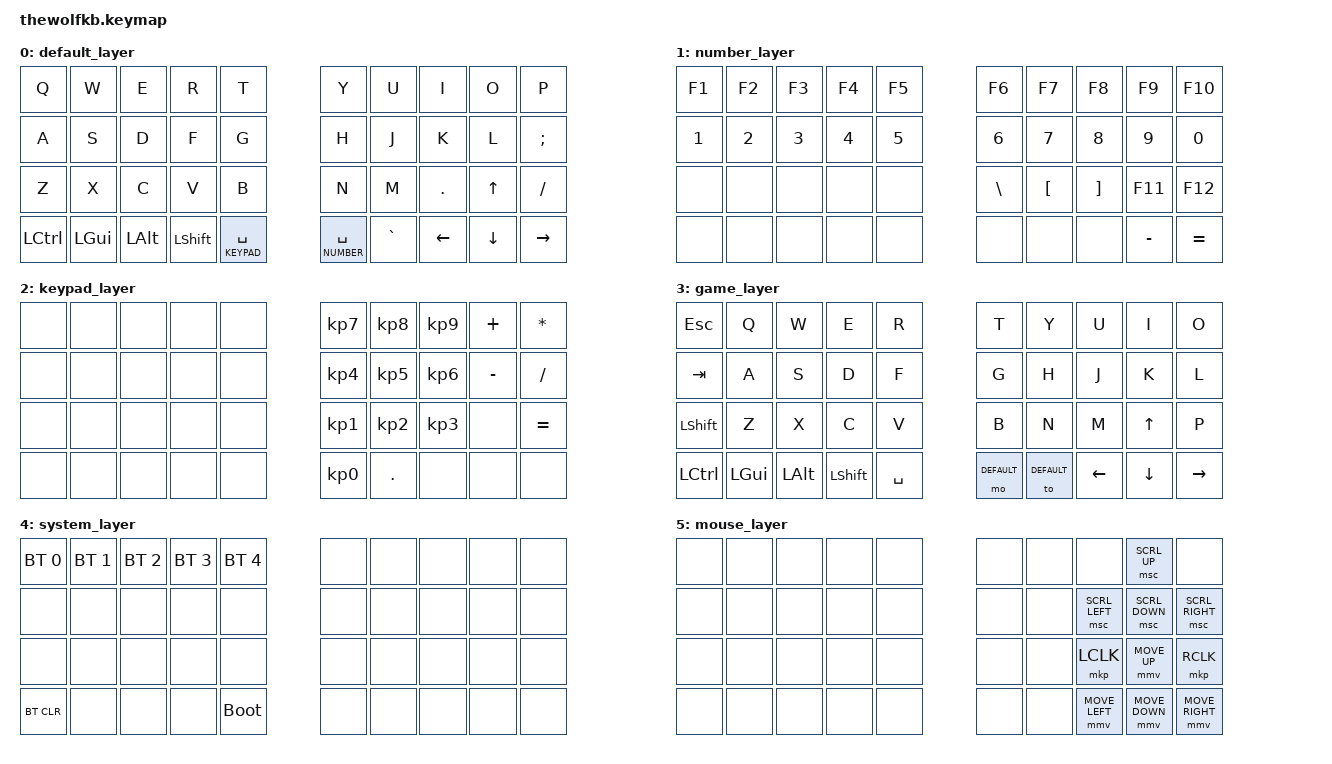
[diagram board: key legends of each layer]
#include <behaviors.dtsi>
#include <dt-bindings/zmk/bt.h>
#include <dt-bindings/zmk/keys.h>
#include <dt-bindings/zmk/outputs.h>
#include <dt-bindings/zmk/mouse.h>

#define ZMK_POINTING_DEFAULT_MOVE_VAL 1500  // default: 600
#define ZMK_POINTING_DEFAULT_SCRL_VAL 20    // default: 10


#include <dt-bindings/zmk/pointing.h>

&mmv {
    x-input-code = <INPUT_REL_X>;
    y-input-code = <INPUT_REL_Y>;
    time-to-max-speed-ms = <500>;
    acceleration-exponent = <1>;
};

&msc {
    x-input-code = <INPUT_REL_HWHEEL>;
    y-input-code = <INPUT_REL_WHEEL>;
    time-to-max-speed-ms = <0>;
    acceleration-exponent = <0>;
};


/ {
    #define DEFAULT 0
    #define NUMBER  1
    #define KEYPAD  2
    #define GAME    3
    #define SYSTEM  4
    #define MOUSE   5

    //新增複數按鍵的組合
    combos
    {
        compatible = "zmk,combos";
        //切換藍牙跟有線模式
        // combo_bt{
        //     //按鍵組合的延遲(在幾秒內必須按下這兩個按鍵)
        //     timeout-ms = <50>;
        //     //按鍵陣列的組合Q+T
        //     key-positions = <0 4>;
        //     bindings = <&out OUT_TOG>;
        // };

        // 全layer通用
        combo_enter{
            timeout-ms = <50>;
            key-positions = <18 19>;
            bindings = <&kp RETURN>;
        };

        combo_backspace{
            timeout-ms = <50>;
            key-positions = <8 9>;
            bindings = <&kp BACKSPACE>;
            layers = <0>;
        };

        combo_delete{
            timeout-ms = <50>;
            key-positions = <8 9>;
            bindings = <&kp DELETE>;
            layers = <2>;
        };
        
        // 默認layer
        combo_comma{
            timeout-ms = <50>;
            key-positions = <26 27>;
            bindings = <&kp COMMA>;
            layers = <0>;
        };

        combo_single_quote{
            timeout-ms = <50>;
            key-positions = <28 29>;
            bindings = <&kp SINGLE_QUOTE>;
            layers = <0>;
        };

        combo_esc{
            timeout-ms = <50>;
            key-positions = <0 1>;
            bindings = <&kp ESC>;
            layers = <0>;
        };

        combo_tab{
            timeout-ms = <50>;
            key-positions = <10 11>;
            bindings = <&kp TAB>;
            layers = <0>;
        };
        
        //navigation
        combo_page_up{
            timeout-ms = <50>;
            key-positions = <28 39>;
            bindings = <&kp PAGE_UP>;
            layers = <0>;
        };
        
        combo_page_down{
            timeout-ms = <50>;
            key-positions = <38 39>;
            bindings = <&kp PAGE_DOWN>;
            layers = <0>;
        };
        
        combo_home{
            timeout-ms = <50>;
            key-positions = <28 37>;
            bindings = <&kp HOME>;
            layers = <0>;
        };

        combo_end{
            timeout-ms = <50>;
            key-positions = <37 38>;
            bindings = <&kp END>;
            layers = <0>;
        };


        // switch layer
        combo_ow{
            timeout-ms = <50>;
            key-positions = <5 9>;
            bindings = <&to GAME>;
            layers = <0>;
        };

        combo_system{
            timeout-ms = <50>;
            key-positions = <35 39>;
            bindings = <&mo SYSTEM>;
            layers = <0>;
        };

        combo_mouse{
            timeout-ms = <50>;
            key-positions = <33 34>;
            bindings = <&mo MOUSE>;
            layers = <0>;
        };

    };



    keymap
    {
        compatible = "zmk,keymap";

        default_layer
        {
            bindings = <
                &kp Q      &kp W         &kp E         &kp R       &kp T                 &kp Y             &kp U      &kp I     &kp O     &kp P 
                &kp A      &kp S         &kp D         &kp F       &kp G                 &kp H             &kp J      &kp K     &kp L     &kp SEMICOLON 
                &kp Z      &kp X         &kp C         &kp V       &kp B                 &kp N             &kp M      &kp DOT   &kp UP    &kp SLASH 
                &kp LCTRL  &kp LEFT_GUI  &kp LEFT_ALT  &kp LSHIFT  &lt KEYPAD SPACE      &lt NUMBER SPACE  &kp GRAVE  &kp LEFT  &kp DOWN  &kp RIGHT
            >;
        };

        number_layer
        {
            bindings = <
                &kp F1  &kp F2  &kp F3  &kp F4  &kp F5        &kp F6         &kp F7            &kp F8             &kp F9     &kp F10
                &kp N1  &kp N2  &kp N3  &kp N4  &kp N5        &kp N6         &kp N7            &kp N8             &kp N9     &kp N0
                &none   &none   &none   &none   &none         &kp BACKSLASH  &kp LEFT_BRACKET  &kp RIGHT_BRACKET  &kp F11    &kp F12
                &none   &none   &none   &none   &none         &none          &none             &none              &kp MINUS  &kp EQUAL
            >;
        };

        keypad_layer
        {
            bindings = <
                &none  &none  &none  &none  &none       &kp KP_N7  &kp KP_N8   &kp KP_N9  &kp PLUS   &kp ASTERISK 
                &none  &none  &none  &none  &none       &kp KP_N4  &kp KP_N5   &kp KP_N6  &kp MINUS  &kp SLASH 
                &none  &none  &none  &none  &none       &kp KP_N1  &kp KP_N2   &kp KP_N3  &none      &kp EQUAL 
                &none  &none  &none  &none  &none       &kp KP_N0  &kp DOT     &none      &none      &none
            >;
        };

        game_layer
        {
            bindings = <
                &kp ESC     &kp Q         &kp W         &kp E       &kp R          &kp T        &kp Y        &kp U     &kp I     &kp O
                &kp TAB     &kp A         &kp S         &kp D       &kp F          &kp G        &kp H        &kp J     &kp K     &kp L     
                &kp LSHIFT  &kp Z         &kp X         &kp C       &kp V          &kp B        &kp N        &kp M     &kp UP    &kp P   
                &kp LCTRL   &kp LEFT_GUI  &kp LEFT_ALT  &kp LSHIFT  &kp SPACE      &mo DEFAULT  &to DEFAULT  &kp LEFT  &kp DOWN  &kp RIGHT
            >;
        };
        
        system_layer
        {
            bindings = <
                &bt BT_SEL 0  &bt BT_SEL 1  &bt BT_SEL 2  &bt BT_SEL 3  &bt BT_SEL 4      &none  &none  &none  &none  &none 
                &none  			&none	&none	&none	&none             &none  &none  &none  &none  &none 
                &none         	&none	&none	&none	&none             &none  &none  &none  &none  &none 
                &bt BT_CLR    	&none	&none	&none	&bootloader       &none  &none  &none  &none  &none
            >;
        };

        mouse_layer
        {
            bindings = <
                &none  &none  &none  &none  &none      &none  &none  &none           &msc SCRL_UP     &none 
                &none  &none  &none  &none  &none      &none  &none  &msc SCRL_LEFT  &msc SCRL_DOWN   &msc SCRL_RIGHT 
                &none  &none  &none  &none  &none      &none  &none  &mkp LCLK       &mmv MOVE_UP     &mkp RCLK 
                &none  &none  &none  &none  &none      &none  &none  &mmv MOVE_LEFT  &mmv MOVE_DOWN   &mmv MOVE_RIGHT
            >;
        };
    };
};
